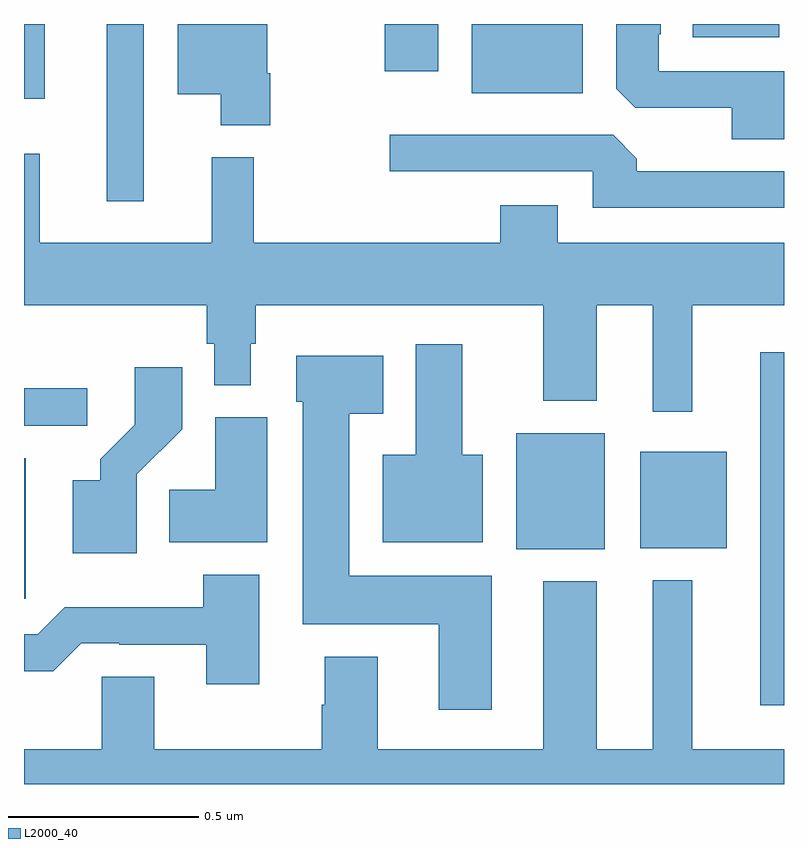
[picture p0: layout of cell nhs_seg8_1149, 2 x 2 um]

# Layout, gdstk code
import gdstk
lib = gdstk.Library(unit=1e-6, precision=1e-09)
def R(c, l, rs):  # rectangles x0, y0, x1, y1
    for r in rs: c.add(gdstk.rectangle(r[:2], r[2:], *l))
def P(c, l, *ps):  # polygons
    for p in ps: c.add(gdstk.Polygon(p, *l))
L2000_40 = (2000, 40)

nhs_seg8_1149 = lib.new_cell('nhs_seg8_1149')
R(nhs_seg8_1149, L2000_40, [(127.937,1122.107,128,1123.036), (126,1122.387,126.004,1122.757), (127.295,1122.518,127.528,1122.823), (127.622,1122.521,127.849,1122.775), (126,1122.843,126.166,1122.942), (126.218,1123.434,126.315,1123.9), (126,1123.703,126.055,1123.9), (127.178,1123.718,127.471,1123.9), (126.949,1123.776,127.09,1123.9), (127.76,1123.865,127.987,1123.9)])
P(nhs_seg8_1149, L2000_40, [(128,1123.776),(127.671,1123.776),(127.671,1123.873),(127.675,1123.873),(127.675,1123.9),(127.559,1123.9),(127.559,1123.729),(127.608,1123.68),(127.862,1123.68),(127.862,1123.597),(128,1123.597)],
  [(126.648,1123.77),(126.64,1123.77),(126.64,1123.9),(126.404,1123.9),(126.404,1123.715),(126.518,1123.715),(126.518,1123.634),(126.648,1123.634)],
  [(128,1123.512),(127.613,1123.512),(127.613,1123.546),(127.551,1123.608),(126.963,1123.608),(126.963,1123.512),(127.497,1123.512),(127.497,1123.416),(128,1123.416)],
  [(127.759,1123.16),(128,1123.16),(128,1123.324),(127.405,1123.324),(127.405,1123.423),(127.253,1123.423),(127.253,1123.324),(126.604,1123.324),(126.604,1123.549),(126.494,1123.549),(126.494,1123.324),(126.041,1123.324),(126.041,1123.558),(126,1123.558),(126,1123.16),(126.481,1123.16),(126.481,1123.059),(126.501,1123.059),(126.501,1122.95),(126.597,1122.95),(126.597,1123.059),(126.61,1123.059),(126.61,1123.16),(127.367,1123.16),(127.367,1122.908),(127.507,1122.908),(127.507,1123.16),(127.655,1123.16),(127.655,1122.879),(127.759,1122.879)],
  [(127.207,1122.766),(127.153,1122.766),(127.153,1123.057),(127.031,1123.057),(127.031,1122.766),(126.944,1122.766),(126.944,1122.536),(127.207,1122.536)],
  [(127.231,1122.448),(126.856,1122.448),(126.856,1122.875),(126.946,1122.875),(126.946,1123.027),(126.717,1123.027),(126.717,1122.906),(126.734,1122.906),(126.734,1122.32),(127.091,1122.32),(127.091,1122.096),(127.231,1122.096)],
  [(126.297,1122.715),(126.416,1122.834),(126.416,1122.997),(126.291,1122.997),(126.291,1122.845),(126.2,1122.755),(126.2,1122.7),(126.128,1122.7),(126.128,1122.507),(126.297,1122.507)],
  [(126.64,1122.865),(126.503,1122.865),(126.503,1122.674),(126.382,1122.674),(126.382,1122.536),(126.64,1122.536)],
  [(126.619,1122.451),(126.472,1122.451),(126.472,1122.365),(126.107,1122.365),(126.036,1122.294),(126,1122.294),(126,1122.197),(126.077,1122.197),(126.15,1122.27),(126.25,1122.27),(126.25,1122.267),(126.479,1122.267),(126.479,1122.162),(126.619,1122.162)],
  [(128,1121.992),(127.759,1121.992),(127.759,1122.436),(127.655,1122.436),(127.655,1121.992),(127.507,1121.992),(127.507,1122.433),(127.367,1122.433),(127.367,1121.992),(126.931,1121.992),(126.931,1122.235),(126.791,1122.235),(126.791,1122.108),(126.784,1122.108),(126.784,1121.992),(126.343,1121.992),(126.343,1122.182),(126.204,1122.182),(126.204,1121.992),(126,1121.992),(126,1121.9),(128,1121.9)])

lib.write_gds('nhs_seg8_1149.gds')
